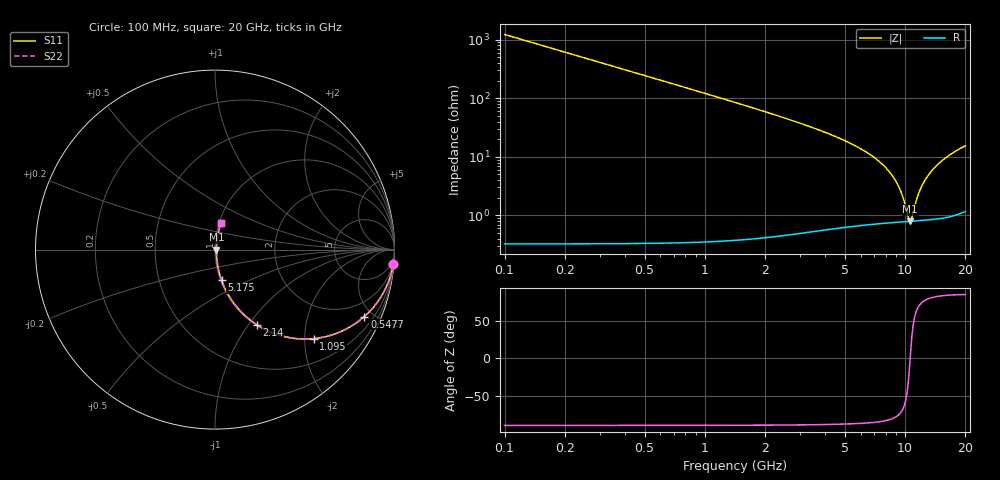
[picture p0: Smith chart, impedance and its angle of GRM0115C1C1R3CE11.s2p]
!Murata Part Number: GRM0115C1C1R3CE11
!These Parameters are Measured in Series Mode Connection
!Data Generated on Mar 30, 2021
!  o--ll--o
!Port1  Port2
!  o------o
!Operation Temp=25[degC], DC Bias Voltage=0[V]
!Freq. Start=100[MHz] Stop=20[GHz] 401[Steps]
# Hz S RI R 50
!Freq.(Hz) S11(Real) S11(Imag) S21(Real) S21(Imag) S12(Real) S12(Imag) S22(Real) S22(Imag)
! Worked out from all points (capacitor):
!   401 points, 100 MHz to 20 GHz, reference 50 ohm
!   read as one part in series: C = 1.3 pF near 199.5 MHz
!   lowest |Z| = 795 mohm at 10.6 GHz (marker M1)
!   series resonance near 10.6 GHz, so ESL is about 170 pH
!   S11 on the Smith chart (normalised r, x): 100 MHz: 1, -24; 547.8 MHz: 1.01, -4.46; 1.095 GHz: 1.01, -2.21; 2.14 GHz: 1.01, -1.09; 5.175 GHz: 1.01, -0.36; 20 GHz: 1.02, +0.31
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1e8  0.9933 -0.0811  0.00665 0.0811  0.00665 0.0811  0.9933 -0.0811
2.99e8  0.9435 -0.2306  0.0565 0.2306  0.0565 0.2306  0.9435 -0.2306
5.4775e8  0.832 -0.3731  0.168 0.3731  0.168 0.3731  0.832 -0.3731
7.965e8  0.6996 -0.4573  0.3004 0.4573  0.3004 0.4573  0.6996 -0.4573
1.095e9  0.5496 -0.4959  0.4504 0.4959  0.4504 0.4959  0.5496 -0.4959
1.5925e9  0.3607 -0.4776  0.6393 0.4776  0.6393 0.4776  0.3607 -0.4776
2.13975e9  0.2322 -0.4183  0.7678 0.4183  0.7678 0.4183  0.2322 -0.4183
3.43325e9  0.0954 -0.2855  0.9046 0.2855  0.9046 0.2855  0.0954 -0.2855
5.1745e9  0.0366 -0.171  0.9634 0.171  0.9634 0.171  0.0366 -0.171
6.7665e9  0.0179 -0.1034  0.9821 0.1034  0.9821 0.1034  0.0179 -0.1034
8.856e9  0.0092 -0.0406  0.9908 0.0406  0.9908 0.0406  0.0092 -0.0406
9.50275e9  0.00829 -0.0246  0.9917 0.0246  0.9917 0.0246  0.00829 -0.0246
1.005e10  0.00793 -0.012  0.9921 0.012  0.9921 0.012  0.00793 -0.012
1.039825e10  0.00787 -0.0043  0.9921 0.0043  0.9921 0.0043  0.00787 -0.0043
1.059725e10  0.00789 -3.74e-05  0.9921 3.74e-05  0.9921 3.74e-05  0.00789 -3.74e-05
1.07465e10  0.00792 0.0031  0.9921 -0.0031  0.9921 -0.0031  0.00792 0.0031
1.13435e10  0.00825 0.0153  0.9917 -0.0153  0.9917 -0.0153  0.00825 0.0153
1.189075e10  0.00879 0.0259  0.9912 -0.0259  0.9912 -0.0259  0.00879 0.0259
1.338325e10  0.0112 0.0527  0.9888 -0.0527  0.9888 -0.0527  0.0112 0.0527
1.4826e10  0.0146 0.0763  0.9854 -0.0763  0.9854 -0.0763  0.0146 0.0763
1.67165e10  0.0206 0.1046  0.9794 -0.1046  0.9794 -0.1046  0.0206 0.1046
2e10  0.0339 0.1472  0.9661 -0.1472  0.9661 -0.1472  0.0339 0.1472
